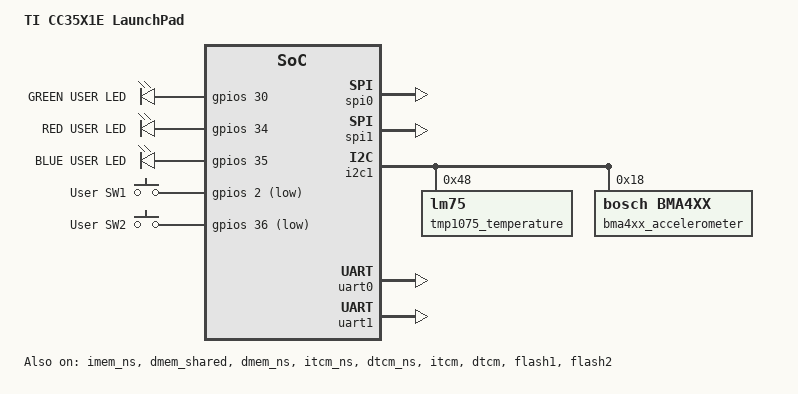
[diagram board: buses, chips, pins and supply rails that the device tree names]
/*
 * Copyright (c) 2025 Conclusive Engineering Sp. z o.o.
 *
 * SPDX-License-Identifier: Apache-2.0
 */

/dts-v1/;

#include <ti/cc35xxe.dtsi>
#include <zephyr/dt-bindings/gpio/gpio.h>
#include <zephyr/dt-bindings/dma/ti-cc35xx-dma.h>
#include "boosterpack_connector.dtsi"
#include "lp_em_cc35x1-pinctrl.dtsi"

/ {
	model = "TI CC35X1E LaunchPad";
	compatible = "ti,launchpad-cc35x1e";

	chosen {
		zephyr,sram = &dmem_ns;
		zephyr,flash = &extflash;
		zephyr,itcm = &itcm_ns;
		zephyr,dtcm = &dtcm_ns;
		zephyr,code-partition = &dmem_ns;
		zephyr,console = &uart1;
		zephyr,shell-uart = &uart1;
	};

	leds {
		compatible = "gpio-leds";
		green_led: green_led {
			gpios = <&gpios 30 GPIO_ACTIVE_HIGH>;
			label = "GREEN USER LED";
		};
		red_led: red_led {
			gpios = <&gpios 34 GPIO_ACTIVE_HIGH>;
			label = "RED USER LED";
		};
		blue_led: blue_led {
			gpios = <&gpios 35 GPIO_ACTIVE_HIGH>;
			label = "BLUE USER LED";
		};
	};

	buttons {
		compatible = "gpio-keys";
		user_switch_1: user_sw_1 {
			gpios = <&gpios 2 GPIO_ACTIVE_LOW>;
			label = "User SW1";
		};
		user_switch_2: user_sw_2{
			gpios = <&gpios 36 GPIO_ACTIVE_LOW>;
			label = "User SW2";
		};
	};

	aliases {
		led0 = &green_led;
		led1 = &red_led;
		led2 = &blue_led;
		sw0 = &user_switch_1;
		sw1 = &user_switch_2;
		dma0 = &dma;
	};
};

&imem_ns {
	status = "okay";
};

&dmem_shared {
	status = "okay";
};

&dmem_ns {
	status = "okay";
};

&itcm_ns {
	status = "okay";
};

&dtcm_ns {
	status = "okay";
};

&itcm {
	status = "okay";
};

&dtcm {
	status = "okay";
};

&dma {
	status = "okay";
};

&spi0 {
	status = "okay";
	pinctrl-0 = <&spi0_master>;
	pinctrl-names = "default";
	cs-gpios = <&gpios 26 GPIO_ACTIVE_LOW>;
	dmas = <&dma 4 CC35XX_DMA_SET_CONFIG(CC35xx_DMA_PERIPH_SPI_0)>,
	       <&dma 5 CC35XX_DMA_SET_CONFIG(CC35xx_DMA_PERIPH_SPI_0)>;
	dma-names = "tx", "rx";
};

&spi1 {
	status = "okay";
	pinctrl-0 = <&spi1_slave>;
	pinctrl-names = "default";
	dmas = <&dma 8 CC35XX_DMA_SET_CONFIG(CC35xx_DMA_PERIPH_SPI_1)>,
	       <&dma 9 CC35XX_DMA_SET_CONFIG(CC35xx_DMA_PERIPH_SPI_1)>;
	dma-names = "tx", "rx";
};

&flash0 {
	status = "okay";

	partitions {
		compatible = "fixed-partitions";
		#address-cells = <1>;
		#size-cells = <1>;

		vendor_image_partition: partition@0 {
			label = "vendor-image";
			reg = <0x0 0x2fb000>;
		};
	};
};

&flash1 {
	status = "okay";

	partitions {
		compatible = "fixed-partitions";
		#address-cells = <1>;
		#size-cells = <1>;

		wifi_fw_slot1_partition: partition@68000 {
			label = "wifi-fw-1";
			reg = <0x68000 0x72000>;
		};

		wifi_fw_slot2_partition: partition@da000 {
			label = "wifi-fw-2";
			reg = <0xda000 0x2b000>;
		};
	};
};

&flash2 {
	status = "okay";

	partitions {
		compatible = "fixed-partitions";
		#address-cells = <1>;
		#size-cells = <1>;

		/* WiFi/BLE NVS: profiles, BLE security, connection policy */
		/* 8 sectors = 32 KB with wear-leveling */
		wifi_nvs_partition: partition@0 {
			label = "wifi-nvs";
			reg = <0x0 0x8000>;
		};

		storage_partition: partition@8000 {
			label = "storage";
			reg = <0x8000 0x23000>;
		};
	};
};

&i2c1 {
	status = "okay";
	pinctrl-0 = <&i2c1_default>;
	pinctrl-names = "default";

	tmp1075_temperature: tmp1075@48 {
		compatible = "lm75";
		friendly-name = "texas_temperature_tmp1075";
		reg = <0x48>;
		status = "okay";
	};

	bma4xx_accelerometer: bma4xx@18 {
		compatible = "bosch,bma4xx";
		reg = <0x18>;
		status = "okay";
	};
};

&uart0 {
	status = "okay";
	pinctrl-0 = <&uart0_default>;
	pinctrl-names = "default";
};

&uart1 {
	status = "okay";
	pinctrl-0 = <&uart1_default>;
	pinctrl-names = "default";
};
